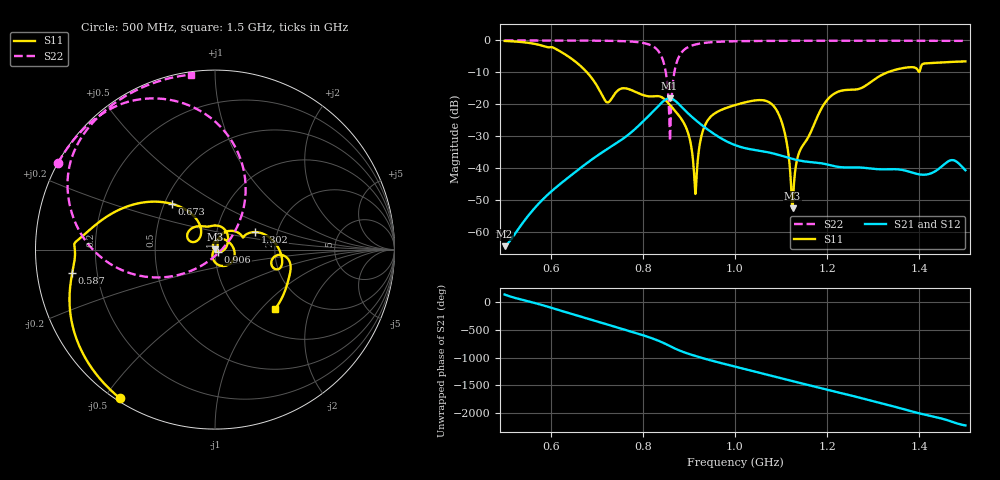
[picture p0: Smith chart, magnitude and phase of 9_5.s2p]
! TOUCHSTONE file generated by CST MICROWAVE STUDIO
! Date and time: Fri Oct  2 19:09:12 2020
! Project name: Scenario_1_Free_Space_out_of_line.cst
! Parameters = {Lambda=346.42; Step_1=17.321; dy1=208.912; dx1=866; L_HA=400; MT=2.54; Rad_Dielectric=30; Rad_Lower=7.3; Rad_Upper=30; a_HA=580; a_WG=246; b_HA=500; b_WG=121; c_HA=0; c_WG=187; d_feed=85; h_feed=15; h_lower=18; h_upper=40}
! Header version: 2018
! Port assignment regex: !\s*Touchstone port\s*([0-9]+)\s*=\s*(CST MWS port|CST DS port)\s*([0-9]+|Zmin|Zmax)\s*\(\"(.*)\"\)(\s*mode\s*([0-9]+))?.*
! Touchstone port assignment:
! Touchstone port 1 = CST MWS port 1 ("")
! Touchstone port 2 = CST MWS port 2 ("")
# GHz S DB R 50
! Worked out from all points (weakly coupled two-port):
!   1003 points, 500 MHz to 1.5 GHz, reference 50 ohm
!   highest |S21| = -18.12 dB at 858 MHz (marker M1); lowest = -64.4 dB at 500 MHz (marker M2)
!   lowest |S11| = -52.6 dB at 1.125 GHz (marker M3), VSWR 1.00, Z = 49.9 + j0.203 ohm
!   |S11| at or under -10 dB: 678.9 MHz to 1.331 GHz (651.9 MHz wide, 64.9 % of centre)
!   |S22| runs from -31.5 to 0.0 dB; largest |S21 - S12| = 5.5e-05
!   S11 on the Smith chart (normalised r, x): 500 MHz: 0.01, -0.55; 587 MHz: 0.11, -0.08; 673 MHz: 0.55, +0.32; 906 MHz: 1.03, -0.03; 1.302 GHz: 1.54, +0.32; 1.5 GHz: 1.41, -1.20
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0.5  -0.15 -122.5  -64.39 136.8  -64.39 136.8  -0.01 151.1
0.587  -1.87 -170.6  -49.18 -65.7  -49.18 -65.7  -0.02 145.1
0.667  -8.28 136.9  -39.67 94.8  -39.67 94.8  -0.04 138.3
0.673  -9.12 133.3  -39.01 80.1  -39.01 80.1  -0.05 137.7
0.722  -19.34 141.6  -34.07 -41.0  -34.07 -41.0  -0.11 131.9
0.834  -17.45 82.6  -20.47 23.4  -20.47 23.4  -3.38 86.8
0.848  -18.53 58.4  -18.62 -28.0  -18.62 -28.0  -8.60 62.6
0.858  -20.07 42.8  -18.12 -69.3  -18.12 -69.3  -27.35 7.4
0.875  -22.93 19.8  -19.50 -136.4  -19.50 -136.4  -6.24 -164.2
0.906  -34.07 -40.4  -23.87 130.0  -23.87 130.0  -1.61 164.9
0.915  -46.90 -168.5  -24.99 106.8  -24.99 106.8  -1.24 160.4
0.938  -25.66 84.0  -27.59 51.3  -27.59 51.3  -0.70 152.3
1  -20.24 13.7  -32.75 -81.4  -32.74 -81.5  -0.26 140.3
1.088  -21.32 -78.8  -35.56 90.7  -35.56 90.8  -0.13 130.8
1.109  -29.60 -115.2  -36.44 46.3  -36.44 46.3  -0.12 128.9
1.125  -52.57 120.1  -37.10 13.8  -37.10 13.8  -0.11 127.6
1.139  -35.16 50.0  -37.57 -14.0  -37.57 -14.0  -0.10 126.4
1.167  -27.86 69.7  -38.12 -70.0  -38.12 -70.0  -0.10 124.2
1.21  -17.20 49.4  -39.17 -160.2  -39.17 -160.2  -0.09 120.9
1.302  -12.25 23.6  -40.22 9.8  -40.22 9.8  -0.08 113.9
1.334  -9.82 9.8  -40.32 -57.3  -40.32 -57.3  -0.09 111.4
1.5  -6.55 -44.6  -40.64 -63.2  -40.63 -63.3  -0.14 97.9
